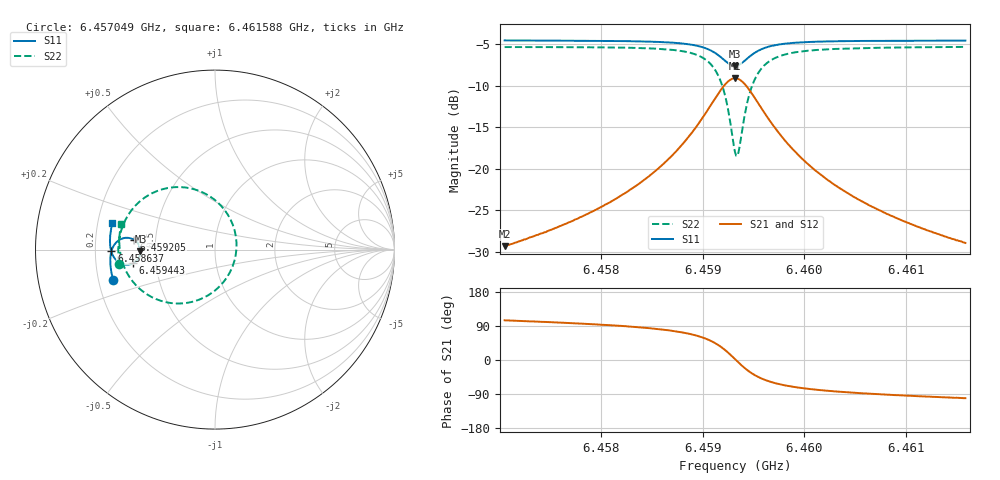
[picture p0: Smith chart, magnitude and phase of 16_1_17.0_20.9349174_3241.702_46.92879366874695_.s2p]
#  HZ  S  RI  R  50.00
! Rohde & Schwarz Vector Network Analyzer
! Rohde-Schwarz,ZNB20-2Port,1311601062101988,3.16
! Created: UTC 3/20/2024, 10:52:47 PM
! freq[Hz]  re:S11  im:S11  re:S21  im:S21  re:S12  im:S12  re:S22  im:S22
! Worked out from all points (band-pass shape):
!   401 points, 6.457049 GHz to 6.461588 GHz, reference 50 ohm
!   highest |S21| = -9.11 dB at 6.459318 GHz (marker M1); lowest = -29.3 dB at 6.457049 GHz (marker M2)
!   |S21| within 3 dB of the highest: 6.459092 GHz to 6.459546 GHz (453.9 kHz wide, 0.00703 % of centre)
!   lowest |S11| = -7.6 dB at 6.459318 GHz (marker M3), VSWR 2.42, Z = 20.7 - j0.425 ohm
!   |S11| at or under -10 dB: nowhere
!   |S22| runs from -18.5 to -5.3 dB; largest |S21 - S12| = 0.014
!   S11 on the Smith chart (normalised r, x): 6.457049 GHz: 0.26, -0.14; 6.458637 GHz: 0.27, -0.01; 6.459205 GHz: 0.38, +0.05; 6.459443 GHz: 0.37, -0.07; 6.461588 GHz: 0.26, +0.12
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6.4570489e9  -0.5675 -0.1682  -0.00876 0.0329  -0.0069 0.0329  -0.5344 -0.0779
6.4578091e9  -0.5809 -0.1015  -0.00524 0.051  -0.00281 0.0505  -0.5385 0.012
6.4582403e9  -0.5834 -0.058  0.00101 0.0714  0.00455 0.0701  -0.5293 0.0814
6.4585694e9  -0.5795 -0.0182  0.0151 0.0999  0.019 0.0971  -0.5034 0.157
6.4586375e9  -0.5772 -0.00862  0.0204 0.1083  0.0245 0.105  -0.493 0.1769
6.4588304e9  -0.5643 0.0218  0.0475 0.1394  0.0514 0.1343  -0.4423 0.2461
6.4589779e9  -0.5413 0.0482  0.0933 0.17  0.0963 0.1632  -0.3581 0.3103
6.4591141e9  -0.4971 0.0658  0.1813 0.1865  0.1818 0.1792  -0.1974 0.3484
6.4592048e9  -0.4521 0.0553  0.2719 0.155  0.2719 0.1496  -0.0298 0.2974
6.4592729e9  -0.4222 0.023  0.3332 0.0825  0.3353 0.0778  0.0869 0.1669
6.4593183e9  -0.4151 -0.00851  0.35 0.0139  0.3537 0.00736  0.1198 0.0383
6.4593524e9  -0.4187 -0.0327  0.3443 -0.0393  0.3485 -0.0481  0.1084 -0.0623
6.4593977e9  -0.4345 -0.0594  0.3156 -0.1003  0.318 -0.112  0.05 -0.1774
6.4594431e9  -0.4568 -0.0761  0.2726 -0.142  0.2724 -0.1552  -0.0365 -0.2536
6.4594885e9  -0.48 -0.0833  0.2276 -0.1648  0.2239 -0.1778  -0.1273 -0.2911
6.4595339e9  -0.501 -0.0835  0.1866 -0.1737  0.1805 -0.1854  -0.2084 -0.3003
6.4596814e9  -0.5457 -0.0631  0.0971 -0.1592  0.0886 -0.1657  -0.3785 -0.2494
6.4598516e9  -0.5687 -0.0335  0.0496 -0.1291  0.0419 -0.1316  -0.4635 -0.1713
6.4600786e9  -0.5805 0.000251  0.0222 -0.0987  0.0164 -0.0992  -0.5078 -0.0926
6.4604303e9  -0.5852 0.0423  0.00574 -0.0707  0.00177 -0.0702  -0.5295 -0.0107
6.4608388e9  -0.5834 0.0835  -0.00158 -0.0525  -0.00448 -0.0517  -0.533 0.0554
6.4615877e9  -0.5715 0.1501  -0.00664 -0.035  -0.00837 -0.0341  -0.5215 0.1448
